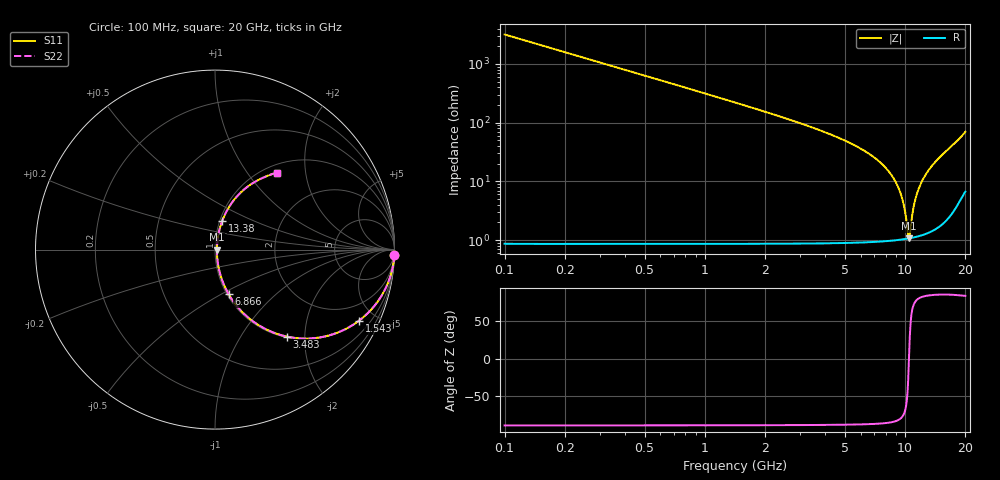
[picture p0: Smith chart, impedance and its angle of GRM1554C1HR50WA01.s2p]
!Murata Part Number: GRM1554C1HR50WA01
!These Parameters are Measured in Series Mode Connection
!Data Generated on Mar 30, 2021
!  o--ll--o
!Port1  Port2
!  o------o
!Operation Temp=25[degC], DC Bias Voltage=0[V]
!Freq. Start=100[MHz] Stop=20[GHz] 401[Steps]
# Hz S RI R 50
!Freq.(Hz) S11(Real) S11(Imag) S21(Real) S21(Imag) S12(Real) S12(Imag) S22(Real) S22(Imag)
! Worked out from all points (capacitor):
!   401 points, 100 MHz to 20 GHz, reference 50 ohm
!   read as one part in series: C = 500 fF near 199.5 MHz
!   lowest |Z| = 1.07 ohm at 10.45 GHz (marker M1)
!   series resonance near 10.45 GHz, so ESL is about 460 pH
!   S11 on the Smith chart (normalised r, x): 100 MHz: 1, -64; 1.543 GHz: 1.02, -4.04; 3.483 GHz: 1.02, -1.63; 6.866 GHz: 1.02, -0.54; 13.38 GHz: 1.03, +0.34; 20 GHz: 1.13, +1.40
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1e8  0.999 -0.0314  0.000995 0.0314  0.000995 0.0314  0.999 -0.0314
3.4875e8  0.988 -0.1084  0.012 0.1084  0.012 0.1084  0.988 -0.1084
5.975e8  0.9655 -0.1817  0.0345 0.1817  0.0345 0.1817  0.9655 -0.1817
9.955e8  0.9089 -0.2865  0.0911 0.2865  0.0911 0.2865  0.9089 -0.2865
1.54275e9  0.8022 -0.3962  0.1978 0.3962  0.1978 0.3962  0.8022 -0.3962
2.3885e9  0.6152 -0.4831  0.3848 0.4831  0.3848 0.4831  0.6152 -0.4831
3.43325e9  0.4098 -0.4866  0.5902 0.4866  0.5902 0.4866  0.4098 -0.4866
3.483e9  0.4014 -0.4848  0.5986 0.4848  0.5986 0.4848  0.4014 -0.4848
4.9755e9  0.2047 -0.3947  0.7953 0.3947  0.7953 0.3947  0.2047 -0.3947
6.7665e9  0.0798 -0.2549  0.9202 0.2549  0.9202 0.2549  0.0798 -0.2549
6.866e9  0.0753 -0.2472  0.9247 0.2472  0.9247 0.2472  0.0753 -0.2472
8.9555e9  0.0192 -0.0958  0.9808 0.0958  0.9808 0.0958  0.0192 -0.0958
9.60225e9  0.013 -0.0532  0.987 0.0532  0.987 0.0532  0.013 -0.0532
1.005e10  0.011 -0.0248  0.989 0.0248  0.989 0.0248  0.011 -0.0248
1.0448e10  0.0106 -0.000315  0.9894 0.000315  0.9894 0.000315  0.0106 -0.000315
1.05475e10  0.0107 0.0057  0.9893 -0.0057  0.9893 -0.0057  0.0107 0.0057
1.099525e10  0.012 0.0323  0.988 -0.0323  0.988 -0.0323  0.012 0.0323
1.149275e10  0.0151 0.0608  0.9849 -0.0608  0.9849 -0.0608  0.0151 0.0608
1.228875e10  0.0234 0.1047  0.9766 -0.1047  0.9766 -0.1047  0.0234 0.1047
1.338325e10  0.0408 0.1616  0.9592 -0.1616  0.9592 -0.1616  0.0408 0.1616
1.67165e10  0.1395 0.3144  0.8605 -0.3144  0.8605 -0.3144  0.1395 0.3144
2e10  0.3439 0.4295  0.6561 -0.4295  0.6561 -0.4295  0.3439 0.4295
